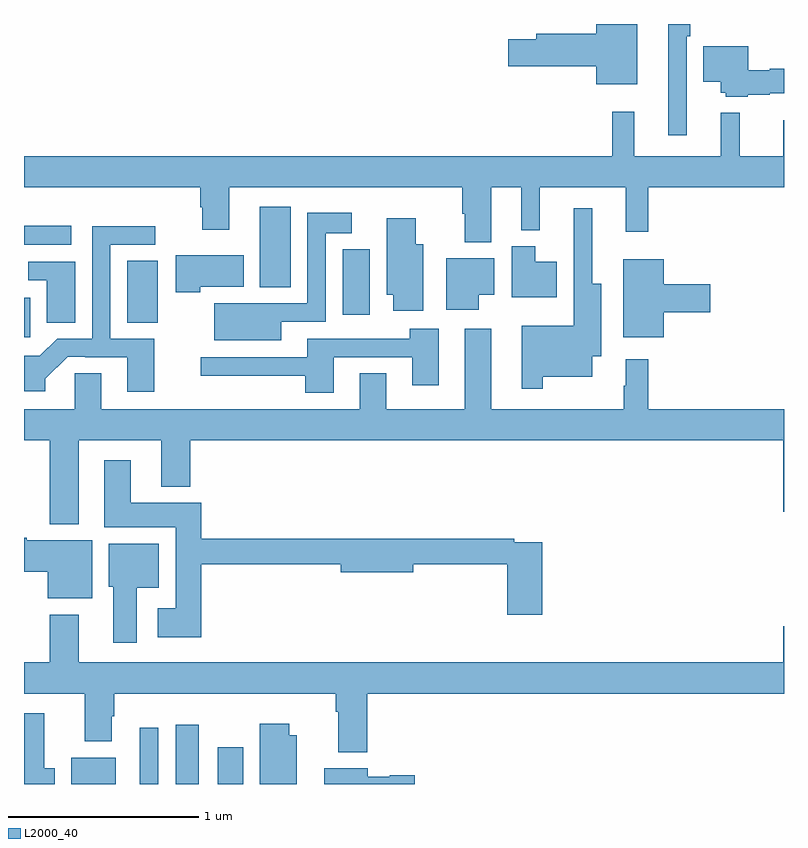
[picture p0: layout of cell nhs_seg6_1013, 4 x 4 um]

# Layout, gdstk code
import gdstk
lib = gdstk.Library(unit=1e-6, precision=1e-09)
def R(c, l, rs):  # rectangles x0, y0, x1, y1
    for r in rs: c.add(gdstk.rectangle(r[:2], r[2:], *l))
def P(c, l, *ps):  # polygons
    for p in ps: c.add(gdstk.Polygon(p, *l))
L2000_40 = (2000, 40)

nhs_seg6_1013 = lib.new_cell('nhs_seg6_1013')
R(nhs_seg6_1013, L2000_40, [(173.249,973.5,173.482,973.639), (173.61,973.5,173.706,973.795), (173.798,973.5,173.92,973.813), (174.02,973.5,174.154,973.693), (173,975.851,173.032,976.06), (173.543,975.928,173.704,976.253), (174.677,975.969,174.82,976.315), (174.242,976.115,174.403,976.537), (173,976.337,173.248,976.438)])
P(nhs_seg6_1013, L2000_40, [(176.227,977.5),(176.012,977.5),(176.012,977.45),(175.697,977.45),(175.697,977.42),(175.548,977.42),(175.548,977.278),(176.012,977.278),(176.012,977.183),(176.227,977.183)],
  [(176.487,977.435),(176.507,977.435),(176.507,977.5),(176.39,977.5),(176.39,976.914),(176.487,976.914)],
  [(176.808,977.128),(176.925,977.128),(176.925,977.135),(177,977.135),(177,977.265),(176.925,977.265),(176.925,977.257),(176.812,977.257),(176.812,977.383),(176.576,977.383),(176.576,977.195),(176.666,977.195),(176.666,977.139),(176.694,977.139),(176.694,977.117),(176.808,977.117)],
  [(175.459,976.64),(175.616,976.64),(175.616,976.415),(175.715,976.415),(175.715,976.64),(176.168,976.64),(176.168,976.407),(176.285,976.407),(176.285,976.64),(177,976.64),(177,976.993),(176.996,976.993),(176.996,976.804),(176.766,976.804),(176.766,977.032),(176.666,977.032),(176.666,976.804),(176.213,976.804),(176.213,977.038),(176.095,977.038),(176.095,976.804),(173,976.804),(173,976.64),(173.927,976.64),(173.927,976.536),(173.939,976.536),(173.939,976.416),(174.079,976.416),(174.079,976.64),(175.307,976.64),(175.307,976.502),(175.319,976.502),(175.319,976.352),(175.459,976.352)],
  [(175.729,975.644),(175.99,975.644),(175.99,975.752),(176.038,975.752),(176.038,976.132),(175.99,976.132),(175.99,976.531),(175.893,976.531),(175.893,975.913),(175.62,975.913),(175.62,975.579),(175.729,975.579)],
  [(174.355,975.933),(174.588,975.933),(174.588,976.4),(174.724,976.4),(174.724,976.507),(174.492,976.507),(174.492,976.029),(174.246,976.029),(174.246,976.03),(174.002,976.03),(174.002,975.836),(174.355,975.836)],
  [(175.102,976.342),(175.063,976.342),(175.063,976.477),(174.908,976.477),(174.908,976.076),(174.944,976.076),(174.944,975.99),(175.102,975.99)],
  [(173.686,975.843),(173.454,975.843),(173.454,976.338),(173.692,976.338),(173.692,976.436),(173.358,976.436),(173.358,975.843),(173.174,975.843),(173.084,975.753),(173,975.753),(173,975.566),(173.113,975.566),(173.113,975.634),(173.229,975.75),(173.323,975.75),(173.323,975.747),(173.543,975.747),(173.543,975.564),(173.686,975.564)],
  [(175.804,976.249),(175.69,976.249),(175.69,976.33),(175.568,976.33),(175.568,976.061),(175.804,976.061)],
  [(173.928,976.118),(174.157,976.118),(174.157,976.282),(173.798,976.282),(173.798,976.088),(173.928,976.088)],
  [(175.393,976.076),(175.474,976.076),(175.474,976.267),(175.223,976.267),(175.223,975.995),(175.393,975.995)],
  [(176.368,975.983),(176.611,975.983),(176.611,976.13),(176.368,976.13),(176.368,976.261),(176.153,976.261),(176.153,975.851),(176.368,975.851)],
  [(173.269,976.248),(173.022,976.248),(173.022,976.152),(173.12,976.152),(173.12,975.928),(173.269,975.928)],
  [(174.631,975.747),(175.043,975.747),(175.043,975.6),(175.183,975.6),(175.183,975.895),(175.031,975.895),(175.031,975.843),(174.491,975.843),(174.491,975.747),(173.931,975.747),(173.931,975.65),(174.479,975.65),(174.479,975.558),(174.631,975.558)],
  [(173.287,975.308),(173.723,975.308),(173.723,975.065),(173.876,975.065),(173.876,975.308),(176.996,975.308),(176.996,974.934),(177,974.934),(177,975.472),(176.285,975.472),(176.285,975.736),(176.168,975.736),(176.168,975.596),(176.157,975.596),(176.157,975.472),(175.459,975.472),(175.459,975.895),(175.319,975.895),(175.319,975.472),(174.907,975.472),(174.907,975.662),(174.767,975.662),(174.767,975.472),(173.407,975.472),(173.407,975.662),(173.268,975.662),(173.268,975.472),(173,975.472),(173,975.308),(173.135,975.308),(173.135,974.867),(173.287,974.867)],
  [(173.933,974.656),(174.668,974.656),(174.668,974.614),(175.048,974.614),(175.048,974.656),(175.544,974.656),(175.544,974.391),(175.727,974.391),(175.727,974.772),(175.58,974.772),(175.58,974.792),(173.933,974.792),(173.933,974.98),(173.563,974.98),(173.563,975.205),(173.423,975.205),(173.423,974.852),(173.798,974.852),(173.798,974.425),(173.703,974.425),(173.703,974.273),(173.933,974.273)],
  [(173.359,974.782),(173.014,974.782),(173.014,974.795),(173,974.795),(173,974.617),(173.126,974.617),(173.126,974.477),(173.359,974.477)],
  [(173.593,974.534),(173.71,974.534),(173.71,974.764),(173.447,974.764),(173.447,974.538),(173.471,974.538),(173.471,974.244),(173.593,974.244)],
  [(174.806,973.976),(177,973.976),(177,974.329),(176.996,974.329),(176.996,974.14),(173.287,974.14),(173.287,974.392),(173.135,974.392),(173.135,974.14),(173,974.14),(173,973.976),(173.321,973.976),(173.321,973.724),(173.461,973.724),(173.461,973.856),(173.474,973.856),(173.474,973.976),(174.641,973.976),(174.641,973.88),(174.653,973.88),(174.653,973.667),(174.806,973.667)],
  [(173.161,973.582),(173.107,973.582),(173.107,973.873),(173,973.873),(173,973.5),(173.161,973.5)],
  [(174.436,973.756),(174.397,973.756),(174.397,973.816),(174.242,973.816),(174.242,973.5),(174.436,973.5)],
  [(175.057,973.545),(174.924,973.545),(174.924,973.537),(174.808,973.537),(174.808,973.582),(174.581,973.582),(174.581,973.5),(175.057,973.5)])

lib.write_gds('nhs_seg6_1013.gds')
